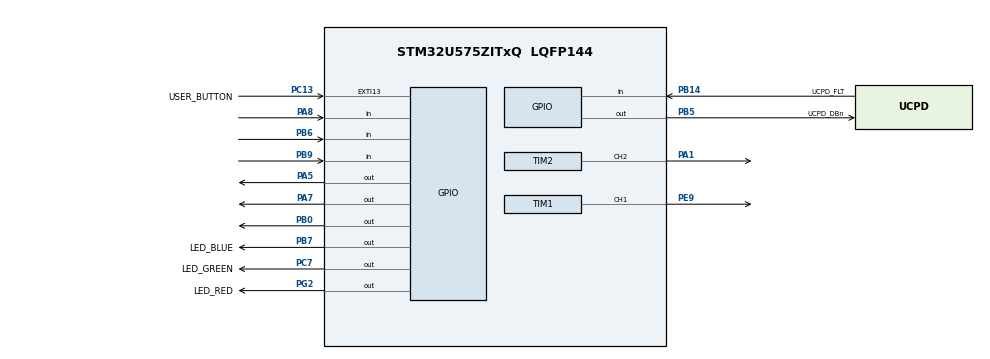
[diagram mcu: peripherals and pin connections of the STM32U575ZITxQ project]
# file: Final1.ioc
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CORTEX_M33_NS.userName=CORTEX_M33
Mcu.Family=STM32U5
Mcu.Name=STM32U575ZITxQ
Mcu.Package=LQFP144
NVIC.PriorityGroup=NVIC_PRIORITYGROUP_3
PA1.Signal=S_TIM2_CH2
PA10.Signal=USART1_RX
PA11.Signal=USB_OTG_FS_DM
PA12.Signal=USB_OTG_FS_DP
PA13\ (JTMS/SWDIO).Signal=DEBUG_JTMS-SWDIO
PA14\ (JTCK/SWCLK).Signal=DEBUG_JTCK-SWCLK
PA15\ (JTDI).Signal=UCPD1_CC1
PA5.Signal=GPIO_Output
PA7.Signal=GPIO_Output
PA8.Signal=GPIO_Input
PA9.Signal=USART1_TX
PB0.Signal=GPIO_Output
PB14.GPIO_Label=UCPD_FLT
PB14.Signal=GPIO_Input
PB15.Signal=UCPD1_CC2
PB3\ (JTDO/TRACESWO).Signal=DEBUG_JTDO-SWO
PB5.GPIO_Label=UCPD_DBn
PB5.Signal=GPIO_Output
PB6.Signal=GPIO_Input
PB7.GPIO_Label=LED_BLUE
PB7.Signal=GPIO_Output
PB9.Signal=GPIO_Input
PC13.GPIO_Label=USER_BUTTON
PC13.Signal=GPXTI13
PC14-OSC32_IN\ (PC14).Signal=RCC_OSC32_IN
PC15-OSC32_OUT\ (PC15).Signal=RCC_OSC32_OUT
PC2.GPIO_Label=VBUS_SENSE
PC2.Signal=ADC1_IN3
PC7.GPIO_Label=LED_GREEN
PC7.Signal=GPIO_Output
PE9.Signal=S_TIM1_CH1
PG2.GPIO_Label=LED_RED
PG2.Signal=GPIO_Output
PWR.PowerMode=PWR_SMPS_SUPPLY
ProjectManager.HeapSize=0x200
ProjectManager.StackSize=0x400
ProjectManager.TargetToolchain=STM32CubeIDE
RCC.ADCFreq_Value=16000000
RCC.DACCLockSelectionVirtual=RCC_DAC1CLKSOURCE_LSI
RCC.DACCLockSelectionVirtualString=RCC_DAC1CLKSOURCE_LSI
RCC.EPOD_VALUE=4000000
RCC.HSE_VALUE=16000000
RCC.HSI48_VALUE=48000000
RCC.HSI_VALUE=16000000
RCC.LSE_VALUE=32768
RCC.LSIDIV_VALUE=32000
RCC.MSI_VALUE=4000000
RCC.USBFreq_Value=48000000
RCC.VCOOutputFreq_Value=516000000
SH.S_TIM1_CH1.0=TIM1_CH1,PWM Generation1 CH1
SH.S_TIM2_CH2.0=TIM2_CH2,PWM Generation2 CH2
TIM1.Channel-PWM\ Generation1\ CH1=TIM_CHANNEL_1
TIM1.PeriodNoDither=9999
TIM1.Prescaler=15
TIM2.Channel-PWM\ Generation2\ CH2=TIM_CHANNEL_2
TIM2.PeriodNoDither=625
TIM2.Prescaler=127
VP_ICACHE_VS_ICACHE.Mode=DirectMappedCache
VP_LPBAMQUEUE_VS_QUEUE.Mode=QUEUEMODE
VP_LPBAM_VS_SIG1.Mode=SmartRun
VP_LPBAM_VS_SIG4.Mode=LPDMA1
VP_PWR_VS_DBSignals.Mode=DisableDeadBatterySignals
VP_PWR_VS_LPOM.Mode=PowerOptimisation
VP_PWR_VS_SECSignals.Mode=Security/Privilege
VP_TIM1_VS_ClockSourceINT.Mode=Internal
VP_TIM2_VS_ClockSourceINT.Mode=Internal
board=NUCLEO-U575ZI-Q

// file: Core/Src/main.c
/* USER CODE BEGIN Header */
/**
  ******************************************************************************
  * @file           : main.c
  * @brief          : Main program body
  ******************************************************************************
  * @attention
  *
  * Copyright (c) 2023 STMicroelectronics.
  * All rights reserved.
  *
  * This software is licensed under terms that can be found in the LICENSE file
  * in the root directory of this software component.
  * If no LICENSE file comes with this software, it is provided AS-IS.
  *
  ******************************************************************************
  */
/* USER CODE END Header */
#include "main.h"

TIM_HandleTypeDef htim1;
TIM_HandleTypeDef htim2;

void SystemClock_Config(void);
static void SystemPower_Config(void);
static void MX_GPIO_Init(void);
static void MX_TIM2_Init(void);
static void MX_ICACHE_Init(void);
static void MX_TIM1_Init(void);

int main(void)
{

  /* MCU Configuration--------------------------------------------------------*/

  /* Reset of all peripherals, Initializes the Flash interface and the Systick. */
  HAL_Init();

  /* Configure the system clock */
  SystemClock_Config();

  /* Configure the System Power */
  SystemPower_Config();

  /* Initialize all configured peripherals */
  MX_GPIO_Init();
  MX_TIM2_Init();
  MX_ICACHE_Init();
  MX_TIM1_Init();
  /* USER CODE BEGIN 2 */
  //HAL_ADC_PollForConversion(&hadc1,1000);
  //HAL_ADC_Start(&hadc1);
  HAL_TIM_PWM_Start(&htim2, TIM_CHANNEL_2); //PA1 TIM2 CH2
      int readValue = 0;
  	  int speed = 0;
  	  int stall = 1;
  	  int a_up = 0;
  	  int dry = 0;
  	  int ir = 0 ;
  	  int last_ir = 0;
  	  int last_dry = 1;
  	  int button = 0;
  	  int last_button = 0;
      HAL_GPIO_WritePin(GPIOA, GPIO_PIN_7, 0);
      HAL_GPIO_WritePin(GPIOA, GPIO_PIN_5, 0);
     // HAL_TIM_PWM_Start(&htim1, TIM_CHANNEL_1);
  /* USER CODE END 2 */

  /* Infinite loop */
  while (1)
  {

    /* USER CODE BEGIN 3 */
	  button = HAL_GPIO_ReadPin(GPIOB, GPIO_PIN_6);
	  dry = HAL_GPIO_ReadPin(GPIOA, GPIO_PIN_8);
	  ir = HAL_GPIO_ReadPin(GPIOB, GPIO_PIN_9);
	  if(button == 1 && last_button == 0){
		  stall = 0;

	  }
	  if(stall){
		  HAL_GPIO_WritePin(GPIOA, GPIO_PIN_7, 0);
		  HAL_GPIO_WritePin(GPIOA, GPIO_PIN_5, 0);
		  //speed =  0;
		  //__HAL_TIM_SET_COMPARE(&htim2,TIM_CHANNEL_2, speed);
		  if(last_dry == 0 && dry == 1){
			  stall = 0;
		  }
	  }
	  else{
		  if(a_up){
			  HAL_GPIO_WritePin(GPIOA, GPIO_PIN_7, 1);
			  HAL_GPIO_WritePin(GPIOA, GPIO_PIN_5, 0);
			  speed =  275;
			  __HAL_TIM_SET_COMPARE(&htim2, TIM_CHANNEL_2, speed);
		  }
		  else{
			  HAL_GPIO_WritePin(GPIOA, GPIO_PIN_7, 0);
			  HAL_GPIO_WritePin(GPIOA, GPIO_PIN_5, 1);
			  speed =  275;
			  __HAL_TIM_SET_COMPARE(&htim2, TIM_CHANNEL_2, speed);
		  }
		  if(last_ir == 1 && ir == 0){
			  stall = 1;
			  a_up = (a_up == 0) ? 1:0;
			  HAL_GPIO_WritePin(GPIOA, GPIO_PIN_7, 0);
			  HAL_GPIO_WritePin(GPIOA, GPIO_PIN_5, 0);
			  speed =  0;
			  __HAL_TIM_SET_COMPARE(&htim2,TIM_CHANNEL_2, speed);
	      // for sg996 and LD2
			  HAL_GPIO_WritePin(GPIOB, GPIO_PIN_0, 1);
			  HAL_GPIO_WritePin(GPIOC, GPIO_PIN_7, 1);
			  HAL_Delay(2000);
			  HAL_GPIO_WritePin(GPIOB, GPIO_PIN_0, 0);
			  HAL_GPIO_WritePin(GPIOC, GPIO_PIN_7, 0);
		  }
	  }

	  last_ir = ir;
	  last_dry = dry;
	  last_button = button;
  }
  /* USER CODE END 3 */
}

void SystemClock_Config(void)
{
  RCC_OscInitTypeDef RCC_OscInitStruct = {0};
  RCC_ClkInitTypeDef RCC_ClkInitStruct = {0};

  /** Configure the main internal regulator output voltage
  */
  if (HAL_PWREx_ControlVoltageScaling(PWR_REGULATOR_VOLTAGE_SCALE4) != HAL_OK)
  {
    Error_Handler();
  }

  /** Initializes the CPU, AHB and APB buses clocks
  */
  RCC_OscInitStruct.OscillatorType = RCC_OSCILLATORTYPE_MSI;
  RCC_OscInitStruct.MSIState = RCC_MSI_ON;
  RCC_OscInitStruct.MSICalibrationValue = RCC_MSICALIBRATION_DEFAULT;
  RCC_OscInitStruct.MSIClockRange = RCC_MSIRANGE_4;
  RCC_OscInitStruct.PLL.PLLState = RCC_PLL_NONE;
  if (HAL_RCC_OscConfig(&RCC_OscInitStruct) != HAL_OK)
  {
    Error_Handler();
  }

  /** Initializes the CPU, AHB and APB buses clocks
  */
  RCC_ClkInitStruct.ClockType = RCC_CLOCKTYPE_HCLK|RCC_CLOCKTYPE_SYSCLK
                              |RCC_CLOCKTYPE_PCLK1|RCC_CLOCKTYPE_PCLK2
                              |RCC_CLOCKTYPE_PCLK3;
  RCC_ClkInitStruct.SYSCLKSource = RCC_SYSCLKSOURCE_MSI;
  RCC_ClkInitStruct.AHBCLKDivider = RCC_SYSCLK_DIV1;
  RCC_ClkInitStruct.APB1CLKDivider = RCC_HCLK_DIV1;
  RCC_ClkInitStruct.APB2CLKDivider = RCC_HCLK_DIV1;
  RCC_ClkInitStruct.APB3CLKDivider = RCC_HCLK_DIV1;

  if (HAL_RCC_ClockConfig(&RCC_ClkInitStruct, FLASH_LATENCY_0) != HAL_OK)
  {
    Error_Handler();
  }
}

/**
  * @brief Power Configuration
  * @retval None
  */
static void SystemPower_Config(void)
{
  HAL_PWREx_EnableVddIO2();

  /*
   * Disable the internal Pull-Up in Dead Battery pins of UCPD peripheral
   */
  HAL_PWREx_DisableUCPDDeadBattery();

  /*
   * Switch to SMPS regulator instead of LDO
   */
  if (HAL_PWREx_ConfigSupply(PWR_SMPS_SUPPLY) != HAL_OK)
  {
    Error_Handler();
  }
}

static void MX_ICACHE_Init(void)
{

  /** Enable instruction cache in 1-way (direct mapped cache)
  */
  if (HAL_ICACHE_ConfigAssociativityMode(ICACHE_1WAY) != HAL_OK)
  {
    Error_Handler();
  }
  if (HAL_ICACHE_Enable() != HAL_OK)
  {
    Error_Handler();
  }

}

static void MX_TIM1_Init(void)
{

  TIM_ClockConfigTypeDef sClockSourceConfig = {0};
  TIM_MasterConfigTypeDef sMasterConfig = {0};
  TIM_OC_InitTypeDef sConfigOC = {0};
  TIM_BreakDeadTimeConfigTypeDef sBreakDeadTimeConfig = {0};

  htim1.Instance = TIM1;
  htim1.Init.Prescaler = 15;
  htim1.Init.CounterMode = TIM_COUNTERMODE_UP;
  htim1.Init.Period = 9999;
  htim1.Init.ClockDivision = TIM_CLOCKDIVISION_DIV1;
  htim1.Init.RepetitionCounter = 0;
  htim1.Init.AutoReloadPreload = TIM_AUTORELOAD_PRELOAD_DISABLE;
  if (HAL_TIM_Base_Init(&htim1) != HAL_OK)
  {
    Error_Handler();
  }
  sClockSourceConfig.ClockSource = TIM_CLOCKSOURCE_INTERNAL;
  if (HAL_TIM_ConfigClockSource(&htim1, &sClockSourceConfig) != HAL_OK)
  {
    Error_Handler();
  }
  if (HAL_TIM_PWM_Init(&htim1) != HAL_OK)
  {
    Error_Handler();
  }
  sMasterConfig.MasterOutputTrigger = TIM_TRGO_RESET;
  sMasterConfig.MasterOutputTrigger2 = TIM_TRGO2_RESET;
  sMasterConfig.MasterSlaveMode = TIM_MASTERSLAVEMODE_DISABLE;
  if (HAL_TIMEx_MasterConfigSynchronization(&htim1, &sMasterConfig) != HAL_OK)
  {
    Error_Handler();
  }
  sConfigOC.OCMode = TIM_OCMODE_PWM1;
  sConfigOC.Pulse = 0;
  sConfigOC.OCPolarity = TIM_OCPOLARITY_HIGH;
  sConfigOC.OCNPolarity = TIM_OCNPOLARITY_HIGH;
  sConfigOC.OCFastMode = TIM_OCFAST_DISABLE;
  sConfigOC.OCIdleState = TIM_OCIDLESTATE_RESET;
  sConfigOC.OCNIdleState = TIM_OCNIDLESTATE_RESET;
  if (HAL_TIM_PWM_ConfigChannel(&htim1, &sConfigOC, TIM_CHANNEL_1) != HAL_OK)
  {
    Error_Handler();
  }
  sBreakDeadTimeConfig.OffStateRunMode = TIM_OSSR_DISABLE;
  sBreakDeadTimeConfig.OffStateIDLEMode = TIM_OSSI_DISABLE;
  sBreakDeadTimeConfig.LockLevel = TIM_LOCKLEVEL_OFF;
  sBreakDeadTimeConfig.DeadTime = 0;
  sBreakDeadTimeConfig.BreakState = TIM_BREAK_DISABLE;
  sBreakDeadTimeConfig.BreakPolarity = TIM_BREAKPOLARITY_HIGH;
  sBreakDeadTimeConfig.BreakFilter = 0;
  sBreakDeadTimeConfig.BreakAFMode = TIM_BREAK_AFMODE_INPUT;
  sBreakDeadTimeConfig.Break2State = TIM_BREAK2_DISABLE;
  sBreakDeadTimeConfig.Break2Polarity = TIM_BREAK2POLARITY_HIGH;
  sBreakDeadTimeConfig.Break2Filter = 0;
  sBreakDeadTimeConfig.Break2AFMode = TIM_BREAK_AFMODE_INPUT;
  sBreakDeadTimeConfig.AutomaticOutput = TIM_AUTOMATICOUTPUT_DISABLE;
  if (HAL_TIMEx_ConfigBreakDeadTime(&htim1, &sBreakDeadTimeConfig) != HAL_OK)
  {
    Error_Handler();
  }
  HAL_TIM_MspPostInit(&htim1);

}

static void MX_TIM2_Init(void)
{

  TIM_ClockConfigTypeDef sClockSourceConfig = {0};
  TIM_MasterConfigTypeDef sMasterConfig = {0};
  TIM_OC_InitTypeDef sConfigOC = {0};

  htim2.Instance = TIM2;
  htim2.Init.Prescaler = 127;
  htim2.Init.CounterMode = TIM_COUNTERMODE_UP;
  htim2.Init.Period = 625;
  htim2.Init.ClockDivision = TIM_CLOCKDIVISION_DIV1;
  htim2.Init.AutoReloadPreload = TIM_AUTORELOAD_PRELOAD_DISABLE;
  if (HAL_TIM_Base_Init(&htim2) != HAL_OK)
  {
    Error_Handler();
  }
  sClockSourceConfig.ClockSource = TIM_CLOCKSOURCE_INTERNAL;
  if (HAL_TIM_ConfigClockSource(&htim2, &sClockSourceConfig) != HAL_OK)
  {
    Error_Handler();
  }
  if (HAL_TIM_PWM_Init(&htim2) != HAL_OK)
  {
    Error_Handler();
  }
  sMasterConfig.MasterOutputTrigger = TIM_TRGO_RESET;
  sMasterConfig.MasterSlaveMode = TIM_MASTERSLAVEMODE_DISABLE;
  if (HAL_TIMEx_MasterConfigSynchronization(&htim2, &sMasterConfig) != HAL_OK)
  {
    Error_Handler();
  }
  sConfigOC.OCMode = TIM_OCMODE_PWM1;
  sConfigOC.Pulse = 0;
  sConfigOC.OCPolarity = TIM_OCPOLARITY_HIGH;
  sConfigOC.OCFastMode = TIM_OCFAST_DISABLE;
  if (HAL_TIM_PWM_ConfigChannel(&htim2, &sConfigOC, TIM_CHANNEL_2) != HAL_OK)
  {
    Error_Handler();
  }
  HAL_TIM_MspPostInit(&htim2);

}

static void MX_GPIO_Init(void)
{
  GPIO_InitTypeDef GPIO_InitStruct = {0};

  /* GPIO Ports Clock Enable */
  __HAL_RCC_GPIOC_CLK_ENABLE();
  __HAL_RCC_GPIOA_CLK_ENABLE();
  __HAL_RCC_GPIOB_CLK_ENABLE();
  __HAL_RCC_GPIOE_CLK_ENABLE();
  __HAL_RCC_GPIOG_CLK_ENABLE();

  /*Configure GPIO pin Output Level */
  HAL_GPIO_WritePin(GPIOA, GPIO_PIN_5|GPIO_PIN_7, GPIO_PIN_RESET);

  /*Configure GPIO pin Output Level */
  HAL_GPIO_WritePin(GPIOB, GPIO_PIN_0|UCPD_DBn_Pin|LED_BLUE_Pin, GPIO_PIN_RESET);

  /*Configure GPIO pin Output Level */
  HAL_GPIO_WritePin(LED_RED_GPIO_Port, LED_RED_Pin, GPIO_PIN_RESET);

  /*Configure GPIO pin Output Level */
  HAL_GPIO_WritePin(LED_GREEN_GPIO_Port, LED_GREEN_Pin, GPIO_PIN_RESET);

  /*Configure GPIO pin : USER_BUTTON_Pin */
  GPIO_InitStruct.Pin = USER_BUTTON_Pin;
  GPIO_InitStruct.Mode = GPIO_MODE_IT_RISING;
  GPIO_InitStruct.Pull = GPIO_NOPULL;
  HAL_GPIO_Init(USER_BUTTON_GPIO_Port, &GPIO_InitStruct);

  /*Configure GPIO pin : VBUS_SENSE_Pin */
  GPIO_InitStruct.Pin = VBUS_SENSE_Pin;
  GPIO_InitStruct.Mode = GPIO_MODE_ANALOG;
  GPIO_InitStruct.Pull = GPIO_NOPULL;
  HAL_GPIO_Init(VBUS_SENSE_GPIO_Port, &GPIO_InitStruct);

  /*Configure GPIO pins : PA5 PA7 */
  GPIO_InitStruct.Pin = GPIO_PIN_5|GPIO_PIN_7;
  GPIO_InitStruct.Mode = GPIO_MODE_OUTPUT_PP;
  GPIO_InitStruct.Pull = GPIO_NOPULL;
  GPIO_InitStruct.Speed = GPIO_SPEED_FREQ_LOW;
  HAL_GPIO_Init(GPIOA, &GPIO_InitStruct);

  /*Configure GPIO pins : PB0 UCPD_DBn_Pin LED_BLUE_Pin */
  GPIO_InitStruct.Pin = GPIO_PIN_0|UCPD_DBn_Pin|LED_BLUE_Pin;
  GPIO_InitStruct.Mode = GPIO_MODE_OUTPUT_PP;
  GPIO_InitStruct.Pull = GPIO_NOPULL;
  GPIO_InitStruct.Speed = GPIO_SPEED_FREQ_LOW;
  HAL_GPIO_Init(GPIOB, &GPIO_InitStruct);

  /*Configure GPIO pins : UCPD_FLT_Pin PB6 PB9 */
  GPIO_InitStruct.Pin = UCPD_FLT_Pin|GPIO_PIN_6|GPIO_PIN_9;
  GPIO_InitStruct.Mode = GPIO_MODE_INPUT;
  GPIO_InitStruct.Pull = GPIO_NOPULL;
  HAL_GPIO_Init(GPIOB, &GPIO_InitStruct);

  /*Configure GPIO pin : PB15 */
  GPIO_InitStruct.Pin = GPIO_PIN_15;
  GPIO_InitStruct.Mode = GPIO_MODE_ANALOG;
  GPIO_InitStruct.Pull = GPIO_NOPULL;
  HAL_GPIO_Init(GPIOB, &GPIO_InitStruct);

  /*Configure GPIO pin : LED_RED_Pin */
  GPIO_InitStruct.Pin = LED_RED_Pin;
  GPIO_InitStruct.Mode = GPIO_MODE_OUTPUT_PP;
  GPIO_InitStruct.Pull = GPIO_NOPULL;
  GPIO_InitStruct.Speed = GPIO_SPEED_FREQ_LOW;
  HAL_GPIO_Init(LED_RED_GPIO_Port, &GPIO_InitStruct);

  /*Configure GPIO pin : LED_GREEN_Pin */
  GPIO_InitStruct.Pin = LED_GREEN_Pin;
  GPIO_InitStruct.Mode = GPIO_MODE_OUTPUT_PP;
  GPIO_InitStruct.Pull = GPIO_NOPULL;
  GPIO_InitStruct.Speed = GPIO_SPEED_FREQ_LOW;
  HAL_GPIO_Init(LED_GREEN_GPIO_Port, &GPIO_InitStruct);

  /*Configure GPIO pin : PA8 */
  GPIO_InitStruct.Pin = GPIO_PIN_8;
  GPIO_InitStruct.Mode = GPIO_MODE_INPUT;
  GPIO_InitStruct.Pull = GPIO_NOPULL;
  HAL_GPIO_Init(GPIOA, &GPIO_InitStruct);

  /*Configure GPIO pins : PA9 PA10 */
  GPIO_InitStruct.Pin = GPIO_PIN_9|GPIO_PIN_10;
  GPIO_InitStruct.Mode = GPIO_MODE_AF_PP;
  GPIO_InitStruct.Pull = GPIO_NOPULL;
  GPIO_InitStruct.Speed = GPIO_SPEED_FREQ_LOW;
  GPIO_InitStruct.Alternate = GPIO_AF7_USART1;
  HAL_GPIO_Init(GPIOA, &GPIO_InitStruct);

  /*Configure GPIO pins : PA11 PA12 */
  GPIO_InitStruct.Pin = GPIO_PIN_11|GPIO_PIN_12;
  GPIO_InitStruct.Mode = GPIO_MODE_AF_PP;
  GPIO_InitStruct.Pull = GPIO_NOPULL;
  GPIO_InitStruct.Speed = GPIO_SPEED_FREQ_LOW;
  GPIO_InitStruct.Alternate = GPIO_AF10_USB;
  HAL_GPIO_Init(GPIOA, &GPIO_InitStruct);

  /*Configure GPIO pin : PA15 */
  GPIO_InitStruct.Pin = GPIO_PIN_15;
  GPIO_InitStruct.Mode = GPIO_MODE_ANALOG;
  GPIO_InitStruct.Pull = GPIO_NOPULL;
  HAL_GPIO_Init(GPIOA, &GPIO_InitStruct);

}

void Error_Handler(void)
{
  __disable_irq();
  while (1)
  {
  }
}
